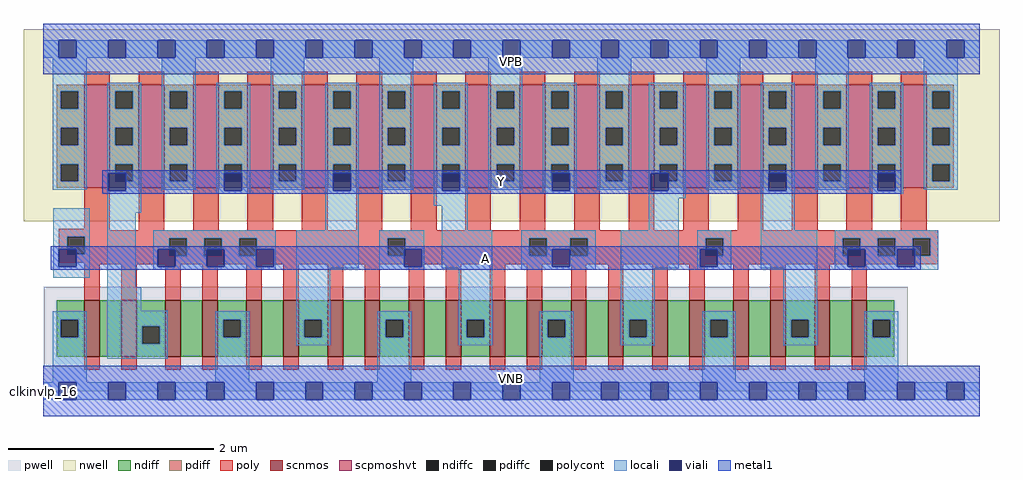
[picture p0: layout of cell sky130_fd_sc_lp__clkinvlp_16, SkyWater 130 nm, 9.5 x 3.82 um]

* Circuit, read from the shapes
.subckt sky130_fd_sc_lp__clkinvlp_16 A VGND VNB VPB VPWR Y
XM1 n1 A VGND VNB sky130_fd_pr__nfet_01v8 w=0.55 l=0.15
XM2 Y A n1 VNB sky130_fd_pr__nfet_01v8 w=0.55 l=0.15
XM3 n2 A Y VNB sky130_fd_pr__nfet_01v8 w=0.55 l=0.15
XM4 VGND A n2 VNB sky130_fd_pr__nfet_01v8 w=0.55 l=0.15
XM5 n3 A VGND VNB sky130_fd_pr__nfet_01v8 w=0.55 l=0.15
XM6 Y A n3 VNB sky130_fd_pr__nfet_01v8 w=0.55 l=0.15
XM7 n4 A Y VNB sky130_fd_pr__nfet_01v8 w=0.55 l=0.15
XM8 VGND A n4 VNB sky130_fd_pr__nfet_01v8 w=0.55 l=0.15
XM9 n5 A VGND VNB sky130_fd_pr__nfet_01v8 w=0.55 l=0.15
XM10 Y A n5 VNB sky130_fd_pr__nfet_01v8 w=0.55 l=0.15
XM11 n6 A Y VNB sky130_fd_pr__nfet_01v8 w=0.55 l=0.15
XM12 VGND A n6 VNB sky130_fd_pr__nfet_01v8 w=0.55 l=0.15
XM13 n7 A VGND VNB sky130_fd_pr__nfet_01v8 w=0.55 l=0.15
XM14 Y A n7 VNB sky130_fd_pr__nfet_01v8 w=0.55 l=0.15
XM15 n8 A Y VNB sky130_fd_pr__nfet_01v8 w=0.55 l=0.15
XM16 VGND A n8 VNB sky130_fd_pr__nfet_01v8 w=0.55 l=0.15
XM17 n9 A VGND VNB sky130_fd_pr__nfet_01v8 w=0.55 l=0.15
XM18 Y A n9 VNB sky130_fd_pr__nfet_01v8 w=0.55 l=0.15
XM19 n10 A Y VNB sky130_fd_pr__nfet_01v8 w=0.55 l=0.15
XM20 VGND A n10 VNB sky130_fd_pr__nfet_01v8 w=0.55 l=0.15
XM21 Y A VPWR VPB sky130_fd_pr__pfet_01v8_hvt w=1 l=0.25 m=16
.ends

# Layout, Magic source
magic
tech sky130A
magscale 1 2
<< nwell >>
rect -38 331 1862 704
<< pwell >>
rect 1 49 1683 203
rect 0 0 1824 49
<< scnmos >>
rect 80 67 110 177
rect 152 67 182 177
rect 238 67 268 177
rect 310 67 340 177
rect 396 67 426 177
rect 468 67 498 177
rect 554 67 584 177
rect 626 67 656 177
rect 712 67 742 177
rect 784 67 814 177
rect 870 67 900 177
rect 942 67 972 177
rect 1028 67 1058 177
rect 1100 67 1130 177
rect 1186 67 1216 177
rect 1258 67 1288 177
rect 1344 67 1374 177
rect 1416 67 1446 177
rect 1502 67 1532 177
rect 1574 67 1604 177
<< scpmoshvt >>
rect 80 396 130 596
rect 186 396 236 596
rect 292 396 342 596
rect 398 396 448 596
rect 504 396 554 596
rect 610 396 660 596
rect 716 396 766 596
rect 822 396 872 596
rect 928 396 978 596
rect 1034 396 1084 596
rect 1140 396 1190 596
rect 1246 396 1296 596
rect 1352 396 1402 596
rect 1458 396 1508 596
rect 1564 396 1614 596
rect 1670 396 1720 596
<< ndiff >>
rect 27 139 80 177
rect 27 105 35 139
rect 69 105 80 139
rect 27 67 80 105
rect 110 67 152 177
rect 182 126 238 177
rect 182 92 193 126
rect 227 92 238 126
rect 182 67 238 92
rect 268 67 310 177
rect 340 139 396 177
rect 340 105 351 139
rect 385 105 396 139
rect 340 67 396 105
rect 426 67 468 177
rect 498 139 554 177
rect 498 105 509 139
rect 543 105 554 139
rect 498 67 554 105
rect 584 67 626 177
rect 656 139 712 177
rect 656 105 667 139
rect 701 105 712 139
rect 656 67 712 105
rect 742 67 784 177
rect 814 139 870 177
rect 814 105 825 139
rect 859 105 870 139
rect 814 67 870 105
rect 900 67 942 177
rect 972 139 1028 177
rect 972 105 983 139
rect 1017 105 1028 139
rect 972 67 1028 105
rect 1058 67 1100 177
rect 1130 139 1186 177
rect 1130 105 1141 139
rect 1175 105 1186 139
rect 1130 67 1186 105
rect 1216 67 1258 177
rect 1288 139 1344 177
rect 1288 105 1299 139
rect 1333 105 1344 139
rect 1288 67 1344 105
rect 1374 67 1416 177
rect 1446 139 1502 177
rect 1446 105 1457 139
rect 1491 105 1502 139
rect 1446 67 1502 105
rect 1532 67 1574 177
rect 1604 139 1657 177
rect 1604 105 1615 139
rect 1649 105 1657 139
rect 1604 67 1657 105
<< pdiff >>
rect 27 584 80 596
rect 27 550 35 584
rect 69 550 80 584
rect 27 513 80 550
rect 27 479 35 513
rect 69 479 80 513
rect 27 442 80 479
rect 27 408 35 442
rect 69 408 80 442
rect 27 396 80 408
rect 130 584 186 596
rect 130 550 141 584
rect 175 550 186 584
rect 130 513 186 550
rect 130 479 141 513
rect 175 479 186 513
rect 130 442 186 479
rect 130 408 141 442
rect 175 408 186 442
rect 130 396 186 408
rect 236 584 292 596
rect 236 550 247 584
rect 281 550 292 584
rect 236 513 292 550
rect 236 479 247 513
rect 281 479 292 513
rect 236 442 292 479
rect 236 408 247 442
rect 281 408 292 442
rect 236 396 292 408
rect 342 584 398 596
rect 342 550 353 584
rect 387 550 398 584
rect 342 513 398 550
rect 342 479 353 513
rect 387 479 398 513
rect 342 442 398 479
rect 342 408 353 442
rect 387 408 398 442
rect 342 396 398 408
rect 448 584 504 596
rect 448 550 459 584
rect 493 550 504 584
rect 448 513 504 550
rect 448 479 459 513
rect 493 479 504 513
rect 448 442 504 479
rect 448 408 459 442
rect 493 408 504 442
rect 448 396 504 408
rect 554 584 610 596
rect 554 550 565 584
rect 599 550 610 584
rect 554 513 610 550
rect 554 479 565 513
rect 599 479 610 513
rect 554 442 610 479
rect 554 408 565 442
rect 599 408 610 442
rect 554 396 610 408
rect 660 584 716 596
rect 660 550 671 584
rect 705 550 716 584
rect 660 513 716 550
rect 660 479 671 513
rect 705 479 716 513
rect 660 442 716 479
rect 660 408 671 442
rect 705 408 716 442
rect 660 396 716 408
rect 766 584 822 596
rect 766 550 777 584
rect 811 550 822 584
rect 766 513 822 550
rect 766 479 777 513
rect 811 479 822 513
rect 766 442 822 479
rect 766 408 777 442
rect 811 408 822 442
rect 766 396 822 408
rect 872 584 928 596
rect 872 550 883 584
rect 917 550 928 584
rect 872 513 928 550
rect 872 479 883 513
rect 917 479 928 513
rect 872 442 928 479
rect 872 408 883 442
rect 917 408 928 442
rect 872 396 928 408
rect 978 584 1034 596
rect 978 550 989 584
rect 1023 550 1034 584
rect 978 513 1034 550
rect 978 479 989 513
rect 1023 479 1034 513
rect 978 442 1034 479
rect 978 408 989 442
rect 1023 408 1034 442
rect 978 396 1034 408
rect 1084 584 1140 596
rect 1084 550 1095 584
rect 1129 550 1140 584
rect 1084 513 1140 550
rect 1084 479 1095 513
rect 1129 479 1140 513
rect 1084 442 1140 479
rect 1084 408 1095 442
rect 1129 408 1140 442
rect 1084 396 1140 408
rect 1190 584 1246 596
rect 1190 550 1201 584
rect 1235 550 1246 584
rect 1190 513 1246 550
rect 1190 479 1201 513
rect 1235 479 1246 513
rect 1190 442 1246 479
rect 1190 408 1201 442
rect 1235 408 1246 442
rect 1190 396 1246 408
rect 1296 584 1352 596
rect 1296 550 1307 584
rect 1341 550 1352 584
rect 1296 513 1352 550
rect 1296 479 1307 513
rect 1341 479 1352 513
rect 1296 442 1352 479
rect 1296 408 1307 442
rect 1341 408 1352 442
rect 1296 396 1352 408
rect 1402 584 1458 596
rect 1402 550 1413 584
rect 1447 550 1458 584
rect 1402 513 1458 550
rect 1402 479 1413 513
rect 1447 479 1458 513
rect 1402 442 1458 479
rect 1402 408 1413 442
rect 1447 408 1458 442
rect 1402 396 1458 408
rect 1508 584 1564 596
rect 1508 550 1519 584
rect 1553 550 1564 584
rect 1508 513 1564 550
rect 1508 479 1519 513
rect 1553 479 1564 513
rect 1508 442 1564 479
rect 1508 408 1519 442
rect 1553 408 1564 442
rect 1508 396 1564 408
rect 1614 584 1670 596
rect 1614 550 1625 584
rect 1659 550 1670 584
rect 1614 513 1670 550
rect 1614 479 1625 513
rect 1659 479 1670 513
rect 1614 442 1670 479
rect 1614 408 1625 442
rect 1659 408 1670 442
rect 1614 396 1670 408
rect 1720 584 1773 596
rect 1720 550 1731 584
rect 1765 550 1773 584
rect 1720 513 1773 550
rect 1720 479 1731 513
rect 1765 479 1773 513
rect 1720 442 1773 479
rect 1720 408 1731 442
rect 1765 408 1773 442
rect 1720 396 1773 408
<< ndiffc >>
rect 35 105 69 139
rect 193 92 227 126
rect 351 105 385 139
rect 509 105 543 139
rect 667 105 701 139
rect 825 105 859 139
rect 983 105 1017 139
rect 1141 105 1175 139
rect 1299 105 1333 139
rect 1457 105 1491 139
rect 1615 105 1649 139
<< pdiffc >>
rect 35 550 69 584
rect 35 479 69 513
rect 35 408 69 442
rect 141 550 175 584
rect 141 479 175 513
rect 141 408 175 442
rect 247 550 281 584
rect 247 479 281 513
rect 247 408 281 442
rect 353 550 387 584
rect 353 479 387 513
rect 353 408 387 442
rect 459 550 493 584
rect 459 479 493 513
rect 459 408 493 442
rect 565 550 599 584
rect 565 479 599 513
rect 565 408 599 442
rect 671 550 705 584
rect 671 479 705 513
rect 671 408 705 442
rect 777 550 811 584
rect 777 479 811 513
rect 777 408 811 442
rect 883 550 917 584
rect 883 479 917 513
rect 883 408 917 442
rect 989 550 1023 584
rect 989 479 1023 513
rect 989 408 1023 442
rect 1095 550 1129 584
rect 1095 479 1129 513
rect 1095 408 1129 442
rect 1201 550 1235 584
rect 1201 479 1235 513
rect 1201 408 1235 442
rect 1307 550 1341 584
rect 1307 479 1341 513
rect 1307 408 1341 442
rect 1413 550 1447 584
rect 1413 479 1447 513
rect 1413 408 1447 442
rect 1519 550 1553 584
rect 1519 479 1553 513
rect 1519 408 1553 442
rect 1625 550 1659 584
rect 1625 479 1659 513
rect 1625 408 1659 442
rect 1731 550 1765 584
rect 1731 479 1765 513
rect 1731 408 1765 442
<< poly >>
rect 80 596 130 622
rect 186 596 236 622
rect 292 596 342 622
rect 398 596 448 622
rect 504 596 554 622
rect 610 596 660 622
rect 716 596 766 622
rect 822 596 872 622
rect 928 596 978 622
rect 1034 596 1084 622
rect 1140 596 1190 622
rect 1246 596 1296 622
rect 1352 596 1402 622
rect 1458 596 1508 622
rect 1564 596 1614 622
rect 1670 596 1720 622
rect 80 316 130 396
rect 31 313 130 316
rect 186 313 236 396
rect 292 313 342 396
rect 398 313 448 396
rect 504 313 554 396
rect 610 313 660 396
rect 716 313 766 396
rect 822 313 872 396
rect 928 313 978 396
rect 1034 313 1084 396
rect 1140 313 1190 396
rect 1246 313 1296 396
rect 1352 313 1402 396
rect 1458 313 1508 396
rect 1564 313 1614 396
rect 1670 313 1720 396
rect 31 300 1743 313
rect 31 266 47 300
rect 81 297 1743 300
rect 81 266 246 297
rect 31 263 246 266
rect 280 263 314 297
rect 348 263 382 297
rect 416 263 671 297
rect 705 263 947 297
rect 981 263 1026 297
rect 1060 263 1290 297
rect 1324 263 1557 297
rect 1591 263 1625 297
rect 1659 263 1693 297
rect 1727 263 1743 297
rect 31 250 1743 263
rect 80 247 1743 250
rect 80 177 110 247
rect 152 177 182 247
rect 238 177 268 247
rect 310 177 340 247
rect 396 177 426 247
rect 468 177 498 247
rect 554 177 584 247
rect 626 177 656 247
rect 712 177 742 247
rect 784 177 814 247
rect 870 177 900 247
rect 942 177 972 247
rect 1028 177 1058 247
rect 1100 177 1130 247
rect 1186 177 1216 247
rect 1258 177 1288 247
rect 1344 177 1374 247
rect 1416 177 1446 247
rect 1502 177 1532 247
rect 1574 177 1604 247
rect 80 41 110 67
rect 152 41 182 67
rect 238 41 268 67
rect 310 41 340 67
rect 396 41 426 67
rect 468 41 498 67
rect 554 41 584 67
rect 626 41 656 67
rect 712 41 742 67
rect 784 41 814 67
rect 870 41 900 67
rect 942 41 972 67
rect 1028 41 1058 67
rect 1100 41 1130 67
rect 1186 41 1216 67
rect 1258 41 1288 67
rect 1344 41 1374 67
rect 1416 41 1446 67
rect 1502 41 1532 67
rect 1574 41 1604 67
<< polycont >>
rect 47 266 81 300
rect 246 263 280 297
rect 314 263 348 297
rect 382 263 416 297
rect 671 263 705 297
rect 947 263 981 297
rect 1026 263 1060 297
rect 1290 263 1324 297
rect 1557 263 1591 297
rect 1625 263 1659 297
rect 1693 263 1727 297
<< locali >>
rect 0 649 31 683
rect 65 649 127 683
rect 161 649 223 683
rect 257 649 319 683
rect 353 649 415 683
rect 449 649 511 683
rect 545 649 607 683
rect 641 649 703 683
rect 737 649 799 683
rect 833 649 895 683
rect 929 649 991 683
rect 1025 649 1087 683
rect 1121 649 1183 683
rect 1217 649 1279 683
rect 1313 649 1375 683
rect 1409 649 1471 683
rect 1505 649 1567 683
rect 1601 649 1663 683
rect 1697 649 1759 683
rect 1793 649 1824 683
rect 19 584 85 649
rect 19 550 35 584
rect 69 550 85 584
rect 19 513 85 550
rect 19 479 35 513
rect 69 479 85 513
rect 19 442 85 479
rect 19 408 35 442
rect 69 408 85 442
rect 19 392 85 408
rect 125 584 191 600
rect 125 550 141 584
rect 175 550 191 584
rect 125 513 191 550
rect 125 479 141 513
rect 175 479 191 513
rect 125 442 191 479
rect 125 424 141 442
rect 125 390 127 424
rect 175 408 191 442
rect 161 390 191 408
rect 231 584 297 649
rect 231 550 247 584
rect 281 550 297 584
rect 231 513 297 550
rect 231 479 247 513
rect 281 479 297 513
rect 231 442 297 479
rect 231 408 247 442
rect 281 408 297 442
rect 231 392 297 408
rect 337 584 403 600
rect 337 550 353 584
rect 387 550 403 584
rect 337 513 403 550
rect 337 479 353 513
rect 387 479 403 513
rect 337 442 403 479
rect 20 300 91 356
rect 20 276 47 300
rect 20 242 31 276
rect 81 266 91 300
rect 65 242 91 266
rect 20 221 91 242
rect 125 347 191 390
rect 337 390 353 442
rect 387 390 403 442
rect 443 584 509 649
rect 443 550 459 584
rect 493 550 509 584
rect 443 513 509 550
rect 443 479 459 513
rect 493 479 509 513
rect 443 442 509 479
rect 443 408 459 442
rect 493 408 509 442
rect 443 392 509 408
rect 549 584 615 600
rect 549 550 565 584
rect 599 550 615 584
rect 549 513 615 550
rect 549 479 565 513
rect 599 479 615 513
rect 549 442 615 479
rect 337 384 403 390
rect 549 390 565 442
rect 599 390 615 442
rect 655 584 721 649
rect 655 550 671 584
rect 705 550 721 584
rect 655 513 721 550
rect 655 479 671 513
rect 705 479 721 513
rect 655 442 721 479
rect 655 408 671 442
rect 705 408 721 442
rect 655 392 721 408
rect 761 584 827 600
rect 761 550 777 584
rect 811 550 827 584
rect 761 513 827 550
rect 761 479 777 513
rect 811 479 827 513
rect 761 442 827 479
rect 125 202 181 347
rect 549 313 615 390
rect 761 390 777 442
rect 811 390 827 442
rect 867 584 933 649
rect 867 550 883 584
rect 917 550 933 584
rect 867 513 933 550
rect 867 479 883 513
rect 917 479 933 513
rect 867 442 933 479
rect 867 408 883 442
rect 917 408 933 442
rect 867 392 933 408
rect 973 584 1039 600
rect 973 550 989 584
rect 1023 550 1039 584
rect 973 513 1039 550
rect 973 479 989 513
rect 1023 479 1039 513
rect 973 442 1039 479
rect 973 408 989 442
rect 1023 424 1039 442
rect 761 361 827 390
rect 973 390 991 408
rect 1025 390 1039 424
rect 1079 584 1145 649
rect 1079 550 1095 584
rect 1129 550 1145 584
rect 1079 513 1145 550
rect 1079 479 1095 513
rect 1129 479 1145 513
rect 1079 442 1145 479
rect 1079 408 1095 442
rect 1129 408 1145 442
rect 1079 392 1145 408
rect 1179 584 1251 600
rect 1179 550 1201 584
rect 1235 550 1251 584
rect 1179 513 1251 550
rect 1179 479 1201 513
rect 1235 479 1251 513
rect 1179 442 1251 479
rect 1179 424 1201 442
rect 973 384 1039 390
rect 1179 390 1183 424
rect 1235 408 1251 442
rect 1217 390 1251 408
rect 1291 584 1357 649
rect 1291 550 1307 584
rect 1341 550 1357 584
rect 1291 513 1357 550
rect 1291 479 1307 513
rect 1341 479 1357 513
rect 1291 442 1357 479
rect 1291 408 1307 442
rect 1341 408 1357 442
rect 1291 392 1357 408
rect 1397 584 1463 600
rect 1397 550 1413 584
rect 1447 550 1463 584
rect 1397 513 1463 550
rect 1397 479 1413 513
rect 1447 479 1463 513
rect 1397 442 1463 479
rect 776 313 827 361
rect 1179 375 1251 390
rect 1397 390 1413 442
rect 1447 390 1463 442
rect 1503 584 1569 649
rect 1503 550 1519 584
rect 1553 550 1569 584
rect 1503 513 1569 550
rect 1503 479 1519 513
rect 1553 479 1569 513
rect 1503 442 1569 479
rect 1503 408 1519 442
rect 1553 408 1569 442
rect 1503 392 1569 408
rect 1609 584 1675 600
rect 1609 550 1625 584
rect 1659 550 1675 584
rect 1609 513 1675 550
rect 1609 479 1625 513
rect 1659 479 1675 513
rect 1609 442 1675 479
rect 1179 313 1238 375
rect 1397 313 1463 390
rect 1609 390 1625 442
rect 1659 390 1675 442
rect 1715 584 1781 649
rect 1715 550 1731 584
rect 1765 550 1781 584
rect 1715 513 1781 550
rect 1715 479 1731 513
rect 1765 479 1781 513
rect 1715 442 1781 479
rect 1715 408 1731 442
rect 1765 408 1781 442
rect 1715 392 1781 408
rect 1609 384 1675 390
rect 215 297 453 313
rect 215 276 246 297
rect 215 242 223 276
rect 280 263 314 297
rect 348 276 382 297
rect 416 276 453 297
rect 353 263 382 276
rect 257 242 319 263
rect 353 242 415 263
rect 449 242 453 276
rect 215 236 453 242
rect 493 239 615 313
rect 655 297 742 313
rect 655 263 671 297
rect 705 276 742 297
rect 655 242 703 263
rect 737 242 742 276
rect 125 156 191 202
rect 19 139 85 155
rect 19 105 35 139
rect 69 105 85 139
rect 19 17 85 105
rect 125 126 243 156
rect 125 92 193 126
rect 227 92 243 126
rect 125 63 243 92
rect 335 139 401 155
rect 335 105 351 139
rect 385 105 401 139
rect 335 17 401 105
rect 493 139 559 239
rect 655 236 742 242
rect 776 239 875 313
rect 493 105 509 139
rect 543 105 559 139
rect 493 89 559 105
rect 651 139 717 155
rect 651 105 667 139
rect 701 105 717 139
rect 651 17 717 105
rect 809 139 875 239
rect 931 297 1076 313
rect 931 263 947 297
rect 981 276 1026 297
rect 981 263 991 276
rect 931 242 991 263
rect 1025 263 1026 276
rect 1060 263 1076 297
rect 1025 242 1076 263
rect 931 236 1076 242
rect 1125 239 1238 313
rect 1274 297 1340 313
rect 1274 276 1290 297
rect 1274 242 1279 276
rect 1324 263 1340 297
rect 1313 242 1340 263
rect 809 105 825 139
rect 859 105 875 139
rect 809 89 875 105
rect 967 139 1033 155
rect 967 105 983 139
rect 1017 105 1033 139
rect 967 17 1033 105
rect 1125 139 1191 239
rect 1274 236 1340 242
rect 1397 239 1507 313
rect 1125 105 1141 139
rect 1175 105 1191 139
rect 1125 89 1191 105
rect 1283 139 1349 155
rect 1283 105 1299 139
rect 1333 105 1349 139
rect 1283 17 1349 105
rect 1441 139 1507 239
rect 1541 297 1743 313
rect 1541 263 1557 297
rect 1591 276 1625 297
rect 1601 263 1625 276
rect 1659 276 1693 297
rect 1659 263 1663 276
rect 1727 263 1743 297
rect 1541 242 1567 263
rect 1601 242 1663 263
rect 1697 242 1743 263
rect 1541 236 1743 242
rect 1441 105 1457 139
rect 1491 105 1507 139
rect 1441 89 1507 105
rect 1599 139 1665 155
rect 1599 105 1615 139
rect 1649 105 1665 139
rect 1599 17 1665 105
rect 0 -17 31 17
rect 65 -17 127 17
rect 161 -17 223 17
rect 257 -17 319 17
rect 353 -17 415 17
rect 449 -17 511 17
rect 545 -17 607 17
rect 641 -17 703 17
rect 737 -17 799 17
rect 833 -17 895 17
rect 929 -17 991 17
rect 1025 -17 1087 17
rect 1121 -17 1183 17
rect 1217 -17 1279 17
rect 1313 -17 1375 17
rect 1409 -17 1471 17
rect 1505 -17 1567 17
rect 1601 -17 1663 17
rect 1697 -17 1759 17
rect 1793 -17 1824 17
<< viali >>
rect 31 649 65 683
rect 127 649 161 683
rect 223 649 257 683
rect 319 649 353 683
rect 415 649 449 683
rect 511 649 545 683
rect 607 649 641 683
rect 703 649 737 683
rect 799 649 833 683
rect 895 649 929 683
rect 991 649 1025 683
rect 1087 649 1121 683
rect 1183 649 1217 683
rect 1279 649 1313 683
rect 1375 649 1409 683
rect 1471 649 1505 683
rect 1567 649 1601 683
rect 1663 649 1697 683
rect 1759 649 1793 683
rect 127 408 141 424
rect 141 408 161 424
rect 127 390 161 408
rect 31 266 47 276
rect 47 266 65 276
rect 31 242 65 266
rect 353 408 387 424
rect 353 390 387 408
rect 565 408 599 424
rect 565 390 599 408
rect 777 408 811 424
rect 777 390 811 408
rect 991 408 1023 424
rect 1023 408 1025 424
rect 991 390 1025 408
rect 1183 408 1201 424
rect 1201 408 1217 424
rect 1183 390 1217 408
rect 1413 408 1447 424
rect 1413 390 1447 408
rect 1625 408 1659 424
rect 1625 390 1659 408
rect 223 263 246 276
rect 246 263 257 276
rect 319 263 348 276
rect 348 263 353 276
rect 415 263 416 276
rect 416 263 449 276
rect 223 242 257 263
rect 319 242 353 263
rect 415 242 449 263
rect 703 263 705 276
rect 705 263 737 276
rect 703 242 737 263
rect 991 242 1025 276
rect 1279 263 1290 276
rect 1290 263 1313 276
rect 1279 242 1313 263
rect 1567 263 1591 276
rect 1591 263 1601 276
rect 1663 263 1693 276
rect 1693 263 1697 276
rect 1567 242 1601 263
rect 1663 242 1697 263
rect 31 -17 65 17
rect 127 -17 161 17
rect 223 -17 257 17
rect 319 -17 353 17
rect 415 -17 449 17
rect 511 -17 545 17
rect 607 -17 641 17
rect 703 -17 737 17
rect 799 -17 833 17
rect 895 -17 929 17
rect 991 -17 1025 17
rect 1087 -17 1121 17
rect 1183 -17 1217 17
rect 1279 -17 1313 17
rect 1375 -17 1409 17
rect 1471 -17 1505 17
rect 1567 -17 1601 17
rect 1663 -17 1697 17
rect 1759 -17 1793 17
<< metal1 >>
rect 0 683 1824 715
rect 0 649 31 683
rect 65 649 127 683
rect 161 649 223 683
rect 257 649 319 683
rect 353 649 415 683
rect 449 649 511 683
rect 545 649 607 683
rect 641 649 703 683
rect 737 649 799 683
rect 833 649 895 683
rect 929 649 991 683
rect 1025 649 1087 683
rect 1121 649 1183 683
rect 1217 649 1279 683
rect 1313 649 1375 683
rect 1409 649 1471 683
rect 1505 649 1567 683
rect 1601 649 1663 683
rect 1697 649 1759 683
rect 1793 649 1824 683
rect 0 617 1824 649
rect 115 424 1671 430
rect 115 390 127 424
rect 161 390 353 424
rect 387 390 565 424
rect 599 390 777 424
rect 811 390 991 424
rect 1025 390 1183 424
rect 1217 390 1413 424
rect 1447 390 1625 424
rect 1659 390 1671 424
rect 115 384 1671 390
rect 15 276 1709 282
rect 15 242 31 276
rect 65 242 223 276
rect 257 242 319 276
rect 353 242 415 276
rect 449 242 703 276
rect 737 242 991 276
rect 1025 242 1279 276
rect 1313 242 1567 276
rect 1601 242 1663 276
rect 1697 242 1709 276
rect 15 236 1709 242
rect 0 17 1824 49
rect 0 -17 31 17
rect 65 -17 127 17
rect 161 -17 223 17
rect 257 -17 319 17
rect 353 -17 415 17
rect 449 -17 511 17
rect 545 -17 607 17
rect 641 -17 703 17
rect 737 -17 799 17
rect 833 -17 895 17
rect 929 -17 991 17
rect 1025 -17 1087 17
rect 1121 -17 1183 17
rect 1217 -17 1279 17
rect 1313 -17 1375 17
rect 1409 -17 1471 17
rect 1505 -17 1567 17
rect 1601 -17 1663 17
rect 1697 -17 1759 17
rect 1793 -17 1824 17
rect 0 -49 1824 -17
<< labels >>
flabel pwell s 0 0 1824 49 0 FreeSans 200 0 0 0 VNB
port 3 nsew ground bidirectional
flabel nwell s 0 617 1824 666 0 FreeSans 200 0 0 0 VPB
port 4 nsew power bidirectional
rlabel comment s 0 0 0 0 4 clkinvlp_16
flabel metal1 s 115 384 1671 430 0 FreeSans 400 0 0 0 Y
port 6 nsew signal output
flabel metal1 s 15 236 1709 282 0 FreeSans 400 0 0 0 A
port 1 nsew signal input
flabel metal1 s 0 617 1824 666 0 FreeSans 340 0 0 0 VPWR
port 5 nsew power bidirectional
flabel metal1 s 0 0 1824 49 0 FreeSans 340 0 0 0 VGND
port 2 nsew ground bidirectional
<< properties >>
string LEFsite unit
string LEFclass CORE
string FIXED_BBOX 0 0 1824 666
string GDS_FILE $PDKPATH/libs.ref/sky130_fd_sc_lp/gds/sky130_fd_sc_lp.gds
string LEFsymmetry X Y R90
string GDS_END 2218814
string GDS_START 2205984
<< end >>
